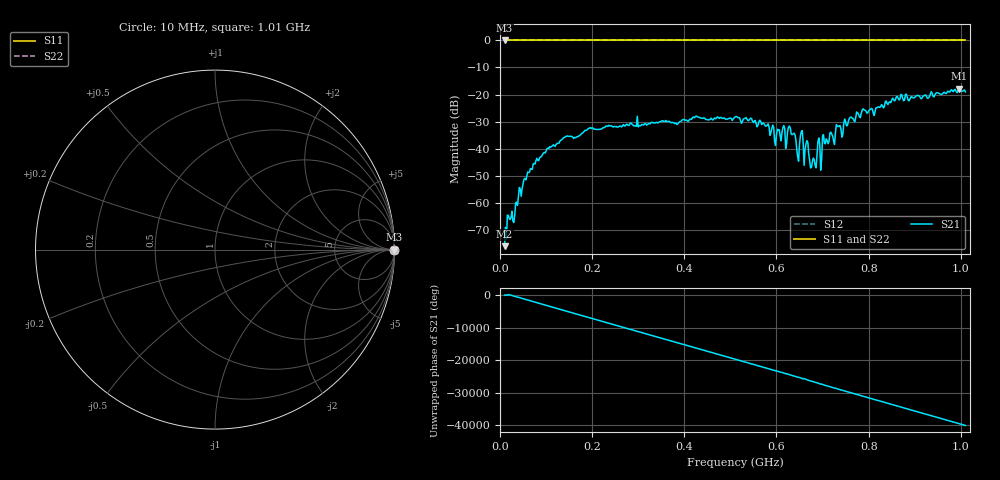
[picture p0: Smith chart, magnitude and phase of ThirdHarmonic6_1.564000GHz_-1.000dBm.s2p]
! 8/16/2025 6:35:25 PM
! C:\ANRITSUVNA\TEMP\TEMP.S2P
! CHANNEL.1
! TR.MEASUREMENT
! RAW.DATA
! RF.CORRECTION.OFF
! AVERAGING.OFF
! IF.BANDWIDTH: 5KHZ
! SWEEPTYPE:  FREQ.SWEEP(Linear)
! Reference Plane Port Info
! PORT:  PORT1  PORT2
! DISTANCE:  0  m  0  m
! TIME:  0  s  0  s
! PHASE.OFFSET:  0  deg.  0  deg.
! LOSS:  0  dB  0  dB
! REF.LOSS:  0  dB  0  dB
! REF.FREQ:  0  Hz  0  Hz
! Power Info
! POWER:  -20  dBm  -20  dBm
! EFF.POWER:  -20  dBm  -20  dBm
! SOURCE.ATTEN:  0  dB  0  dB
! TEST.ATTEN:  0  dB  0  dB
# GHZ S RI R 50.0
! FREQ.GHZ  S11RE  S11IM  S21RE  S21IM  S12RE  S12IM  S22RE  S22IM
!; PortSelection: Port_12
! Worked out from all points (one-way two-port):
!   501 points, 10 MHz to 1.01 GHz, reference 50 ohm
!   highest |S21| = -17.87 dB at 996 MHz (marker M1); lowest = -76.1 dB at 10 MHz (marker M2)
!   lowest |S11| = 0.0 dB at 10 MHz (marker M3)
!   |S11| at or under -10 dB: nowhere
!   |S22| runs from 0.0 to 0.0 dB; largest |S21 - S12| = 1.1
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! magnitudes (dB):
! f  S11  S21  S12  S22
! 10 MHz  0.0  -76.1  0.0  0.0
! 20 MHz  0.0  -65.9  0.0  0.0
! 28 MHz  0.0  -66.8  0.0  0.0
! 56 MHz  0.0  -51.6  0.0  0.0
! 76 MHz  0.0  -45.7  0.0  0.0
! 142 MHz  0.0  -35.6  0.0  0.0
! 178 MHz  0.0  -34.3  0.0  0.0
! 344 MHz  0.0  -30.4  0.0  0.0
! 510 MHz  0.0  -28.4  0.0  0.0
! 568 MHz  0.0  -31.1  0.0  0.0
! 600 MHz  0.0  -34.9  0.0  0.0
! 628 MHz  0.0  -31.7  0.0  0.0
! 646 MHz  0.0  -43.0  0.0  0.0
! 654 MHz  0.0  -33.7  0.0  0.0
! 678 MHz  0.0  -44.7  0.0  0.0
! 704 MHz  0.0  -38.1  0.0  0.0
! 724 MHz  0.0  -37.1  0.0  0.0
! 734 MHz  0.0  -31.9  0.0  0.0
! 742 MHz  0.0  -35.8  0.0  0.0
! 844 MHz  0.0  -22.9  0.0  0.0
! 996 MHz  0.0  -17.9  0.0  0.0
! 1.01 GHz  0.0  -19.0  0.0  0.0
